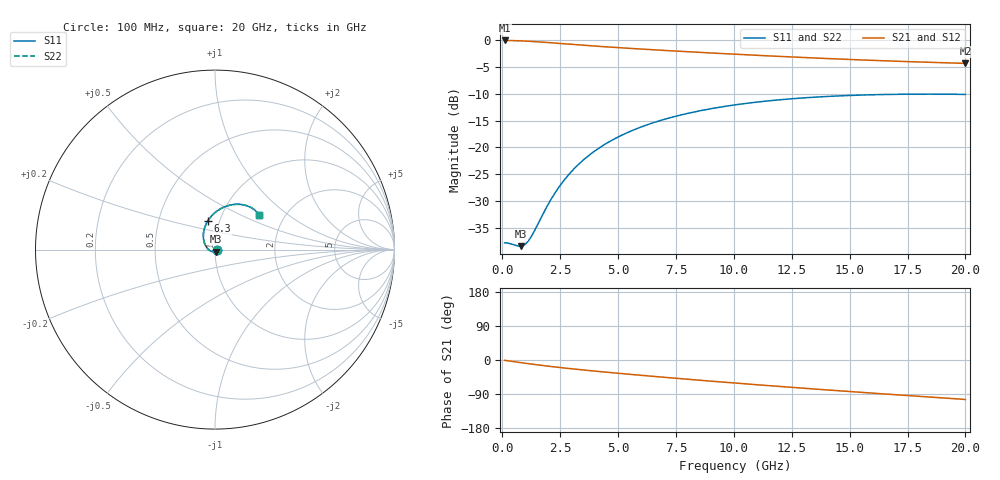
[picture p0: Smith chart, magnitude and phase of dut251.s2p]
! Created with skrf 1.9.0 (http://scikit-rf.org).
# GHz S RI R 50.0
!freq ReS11 ImS11 ReS21 ImS21 ReS12 ImS12 ReS22 ImS22
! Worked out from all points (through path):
!   200 points, 100 MHz to 20 GHz, reference 50 ohm
!   highest |S21| = -0.12 dB at 100 MHz (marker M1); lowest = -4.4 dB at 20 GHz (marker M2)
!   group delay of S21, straight-line fit = 13.8 ps
!   lowest |S11| = -38.3 dB at 800 MHz (marker M3), VSWR 1.02, Z = 50.4 - j1.14 ohm
!   |S11| at or under -10 dB: start of sweep to end of sweep
!   |S22| runs from -38.3 to -10.1 dB; largest |S21 - S12| = 3.4e-15
!   S11 on the Smith chart (normalised r, x): 100 MHz: 1.03, -0.00; 6.3 GHz: 0.88, +0.29; 20 GHz: 1.48, +0.63
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0.1  0.0129 -0.0013  0.9867 -0.0156  0.9867 -0.0156  0.0129 -0.0013
0.2  0.0126 -0.00313  0.9858 -0.0307  0.9858 -0.0307  0.0126 -0.00313
0.8  0.00428 -0.0113  0.9708 -0.1187  0.9708 -0.1187  0.00428 -0.0113
1  -0.000397 -0.0126  0.9624 -0.1463  0.9624 -0.1463  -0.000397 -0.0126
1.2  -0.00575 -0.013  0.9527 -0.1729  0.9527 -0.1729  -0.00575 -0.013
1.4  -0.0116 -0.0124  0.9419 -0.1982  0.9419 -0.1982  -0.0116 -0.0124
2  -0.0298 -0.00438  0.9043 -0.2666  0.9043 -0.2666  -0.0298 -0.00438
2.2  -0.0356 0.000212  0.8908 -0.287  0.8908 -0.287  -0.0356 0.000212
2.5  -0.0436 0.0086  0.8698 -0.3155  0.8698 -0.3155  -0.0436 0.0086
3  -0.0543 0.0258  0.8342 -0.3581  0.8342 -0.3581  -0.0543 0.0258
3.5  -0.0614 0.0456  0.7985 -0.3956  0.7985 -0.3956  -0.0614 0.0456
4.1  -0.0649 0.071  0.7559 -0.4351  0.7559 -0.4351  -0.0649 0.071
4.7  -0.0635 0.0966  0.714 -0.4699  0.714 -0.4699  -0.0635 0.0966
5.5  -0.0551 0.1291  0.6587 -0.5102  0.6587 -0.5102  -0.0551 0.1291
6.3  -0.0409 0.1584  0.6042 -0.5447  0.6042 -0.5447  -0.0409 0.1584
6.8  -0.0299 0.1747  0.5704 -0.5635  0.5704 -0.5635  -0.0299 0.1747
8.3  0.00967 0.2137  0.4706 -0.6086  0.4706 -0.6086  0.00967 0.2137
10.1  0.0623 0.2416  0.3552 -0.6425  0.3552 -0.6425  0.0623 0.2416
11.7  0.1077 0.2516  0.258 -0.6572  0.258 -0.6572  0.1077 0.2516
13.4  0.1507 0.2506  0.1616 -0.6597  0.1616 -0.6597  0.1507 0.2506
16.7  0.2125 0.2272  -0.00521 -0.6362  -0.00521 -0.6362  0.2125 0.2272
20  0.2442 0.1927  -0.1476 -0.5861  -0.1476 -0.5861  0.2442 0.1927
